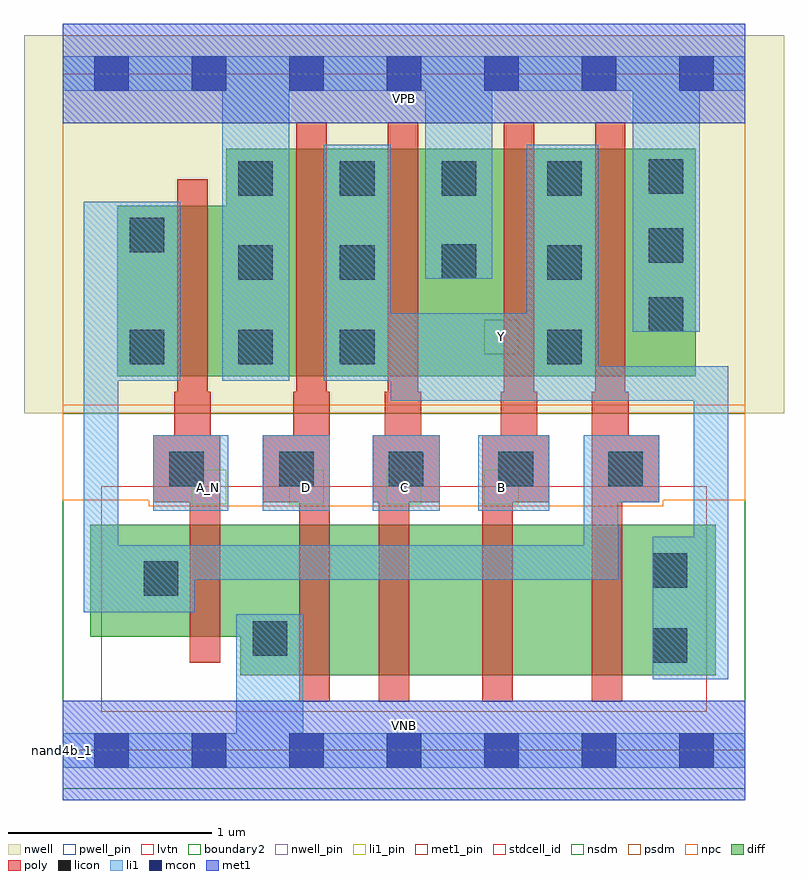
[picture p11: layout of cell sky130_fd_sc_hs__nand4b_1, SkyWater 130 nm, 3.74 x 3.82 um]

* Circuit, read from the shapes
.subckt sky130_fd_sc_hs__nand4b_1 A_N B C D VGND VNB VPB VPWR Y
XM1 VGND A_N n1 VNB sky130_fd_pr__nfet_01v8_lvt w=0.55 l=0.15
XM2 n2 D VGND VNB sky130_fd_pr__nfet_01v8_lvt w=0.74 l=0.15
XM3 n3 C n2 VNB sky130_fd_pr__nfet_01v8_lvt w=0.74 l=0.15
XM4 n4 B n3 VNB sky130_fd_pr__nfet_01v8_lvt w=0.74 l=0.15
XM5 Y n1 n4 VNB sky130_fd_pr__nfet_01v8_lvt w=0.74 l=0.15
XM6 VPWR A_N n1 VPB sky130_fd_pr__pfet_01v8 w=0.84 l=0.15
XM7 Y D VPWR VPB sky130_fd_pr__pfet_01v8 w=1.12 l=0.15
XM8 VPWR C Y VPB sky130_fd_pr__pfet_01v8 w=1.12 l=0.15
XM9 Y B VPWR VPB sky130_fd_pr__pfet_01v8 w=1.12 l=0.15
XM10 VPWR n1 Y VPB sky130_fd_pr__pfet_01v8 w=1.12 l=0.15
.ends

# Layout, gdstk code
import gdstk
lib = gdstk.Library(unit=1e-6, precision=1e-09)
def R(c, l, rs):  # rectangles x0, y0, x1, y1
    for r in rs: c.add(gdstk.rectangle(r[:2], r[2:], *l))
def A(c, l, x, y, w, h, nx, ny, dx, dy):  # array of equal rectangles
    R(c, l, [(x+i*dx, y+j*dy, x+i*dx+w, y+j*dy+h) for i in range(nx) for j in range(ny)])
def P(c, l, *ps):  # polygons
    for p in ps: c.add(gdstk.Polygon(p, *l))
nwell_pin = (64, 16)
nwell = (64, 20)
diff = (65, 20)
poly = (66, 20)
licon = (66, 44)
li1_pin = (67, 16)
li1 = (67, 20)
mcon = (67, 44)
met1_pin = (68, 16)
met1 = (68, 20)
stdcell_id = (81, 4)
nsdm = (93, 44)
psdm = (94, 20)
npc = (95, 20)
pwell_pin = (122, 16)
lvtn = (125, 44)
boundary2 = (236, 0)

sky130_fd_sc_hs__nand4b_ = lib.new_cell('sky130_fd_sc_hs__nand4b_1')
R(sky130_fd_sc_hs__nand4b_, nwell_pin, [(0,3.085,3.36,3.33)])
R(sky130_fd_sc_hs__nand4b_, nwell, [(-0.19,1.66,3.55,3.52)])
P(sky130_fd_sc_hs__nand4b_, diff, [(3.115,2.96),(0.805,2.96),(0.805,2.68),(0.27,2.68),(0.27,1.84),(3.115,1.84)],
  [(3.215,1.11),(0.135,1.11),(0.135,0.56),(0.875,0.56),(0.875,0.37),(3.215,0.37)])
P(sky130_fd_sc_hs__nand4b_, poly, [(2.935,1.55),(2.785,1.55),(2.785,1.765),(2.77,1.765),(2.77,3.09),(2.62,3.09),(2.62,1.765),(2.605,1.765),(2.605,0.24),(2.755,0.24),(2.755,1.22),(2.935,1.22)],
  [(2.395,1.55),(2.335,1.55),(2.335,1.765),(2.32,1.765),(2.32,3.09),(2.17,3.09),(2.17,1.765),(2.155,1.765),(2.155,1.55),(2.065,1.55),(2.065,0.24),(2.215,0.24),(2.215,1.22),(2.395,1.22)],
  [(1.855,1.55),(1.765,1.55),(1.765,1.765),(1.75,1.765),(1.75,3.09),(1.6,3.09),(1.6,1.765),(1.585,1.765),(1.585,1.55),(1.525,1.55),(1.525,1.22),(1.555,1.22),(1.555,0.24),(1.705,0.24),(1.705,1.22),(1.855,1.22)],
  [(1.315,1.765),(1.3,1.765),(1.3,3.09),(1.15,3.09),(1.15,1.765),(1.135,1.765),(1.135,1.55),(0.985,1.55),(0.985,1.22),(1.165,1.22),(1.165,0.24),(1.315,0.24)],
  [(0.775,1.55),(0.73,1.55),(0.73,1.765),(0.715,1.765),(0.715,2.81),(0.565,2.81),(0.565,1.765),(0.55,1.765),(0.55,1.55),(0.445,1.55),(0.445,1.22),(0.625,1.22),(0.625,0.43),(0.775,0.43)])
A(sky130_fd_sc_hs__nand4b_, licon, 0.525, 1.3, 0.17, 0.17, 5, 1, 0.54, 0)
A(sky130_fd_sc_hs__nand4b_, licon, 2.385, 1.9, 0.17, 0.17, 1, 3, 0, 0.415)
A(sky130_fd_sc_hs__nand4b_, licon, 2.885, 2.06, 0.17, 0.17, 1, 3, 0, 0.34)
A(sky130_fd_sc_hs__nand4b_, licon, 0.865, 2.73, 0.17, 0.17, 3, 1, 0.5, 0)
R(sky130_fd_sc_hs__nand4b_, licon, [(2.905,0.43,3.075,0.6), (0.935,0.465,1.105,0.635), (0.4,0.76,0.57,0.93), (2.905,0.8,3.075,0.97), (0.33,1.9,0.5,2.07), (0.865,1.9,1.035,2.07), (1.365,1.9,1.535,2.07), (0.865,2.315,1.035,2.485), (1.365,2.315,1.535,2.485), (1.865,2.32,2.035,2.49), (0.33,2.45,0.5,2.62)])
A(sky130_fd_sc_hs__nand4b_, li1_pin, 0.635, 1.21, 0.17, 0.17, 4, 1, 0.48, 0)
R(sky130_fd_sc_hs__nand4b_, li1_pin, [(2.075,1.95,2.245,2.12)])
R(sky130_fd_sc_hs__nand4b_, li1, [(0.445,1.18,0.815,1.55), (0.985,1.18,1.315,1.55), (1.525,1.18,1.855,1.55), (2.045,1.18,2.395,1.55)])
P(sky130_fd_sc_hs__nand4b_, li1, [(0.785,1.82),(0.785,3.245),(0,3.245),(0,3.415),(3.36,3.415),(3.36,3.245),(3.135,3.245),(3.135,2.06),(2.805,2.06),(2.805,3.245),(2.115,3.245),(2.115,2.32),(1.785,2.32),(1.785,3.245),(1.115,3.245),(1.115,1.82)],
  [(0.855,0.085),(0.855,0.67),(1.185,0.67),(1.185,0.085),(3.36,0.085),(3.36,-0.085),(0,-0.085),(0,0.085)],
  [(2.735,0.84),(0.65,0.84),(0.65,0.68),(0.105,0.68),(0.105,2.7),(0.58,2.7),(0.58,1.82),(0.275,1.82),(0.275,1.01),(2.565,1.01),(2.565,1.55),(2.935,1.55),(2.935,1.22),(2.735,1.22)],
  [(1.285,1.82),(1.285,2.98),(1.615,2.98),(1.615,2.15),(2.285,2.15),(2.285,2.98),(2.635,2.98),(2.635,1.89),(3.275,1.89),(3.275,0.35),(2.905,0.35),(2.905,1.05),(3.105,1.05),(3.105,1.72),(1.615,1.72),(1.615,1.82)])
A(sky130_fd_sc_hs__nand4b_, mcon, 0.155, -0.085, 0.17, 0.17, 7, 2, 0.48, 3.33)
R(sky130_fd_sc_hs__nand4b_, met1_pin, [(0,0,3.36,0.245), (0,3.085,3.36,3.33)])
R(sky130_fd_sc_hs__nand4b_, met1, [(0,-0.245,3.36,0.245), (0,3.085,3.36,3.575)])
R(sky130_fd_sc_hs__nand4b_, stdcell_id, [(0,0,3.36,3.33)])
R(sky130_fd_sc_hs__nand4b_, nsdm, [(0,-0.19,3.36,1.66)])
R(sky130_fd_sc_hs__nand4b_, psdm, [(0,1.66,3.36,3.52)])
P(sky130_fd_sc_hs__nand4b_, npc, [(3.36,1.7),(0,1.7),(0,1.23),(0.425,1.23),(0.425,1.2),(2.955,1.2),(2.955,1.23),(3.36,1.23)])
R(sky130_fd_sc_hs__nand4b_, pwell_pin, [(0,0,3.36,0.245)])
R(sky130_fd_sc_hs__nand4b_, lvtn, [(0.19,0.19,3.17,1.3)])
R(sky130_fd_sc_hs__nand4b_, boundary2, [(0,0,3.36,3.33)])
sky130_fd_sc_hs__nand4b_.add(gdstk.Label('nand4b_1', (0,0), layer=83, texttype=44))
sky130_fd_sc_hs__nand4b_.add(gdstk.Label('VNB', (1.68,0.123), layer=64, texttype=59))
sky130_fd_sc_hs__nand4b_.add(gdstk.Label('VPB', (1.68,3.208), layer=64, texttype=5))
sky130_fd_sc_hs__nand4b_.add(gdstk.Label('VPWR', (1.68,3.208), layer=68, texttype=5))
sky130_fd_sc_hs__nand4b_.add(gdstk.Label('VGND', (1.68,0.123), layer=68, texttype=5))
sky130_fd_sc_hs__nand4b_.add(gdstk.Label('A_N', (0.72,1.295), layer=67, texttype=5))
sky130_fd_sc_hs__nand4b_.add(gdstk.Label('D', (1.2,1.295), layer=67, texttype=5))
sky130_fd_sc_hs__nand4b_.add(gdstk.Label('Y', (2.16,2.035), layer=67, texttype=5))
sky130_fd_sc_hs__nand4b_.add(gdstk.Label('C', (1.68,1.295), layer=67, texttype=5))
sky130_fd_sc_hs__nand4b_.add(gdstk.Label('B', (2.16,1.295), layer=67, texttype=5))

lib.write_gds('sky130_fd_sc_hs__nand4b_1.gds')
